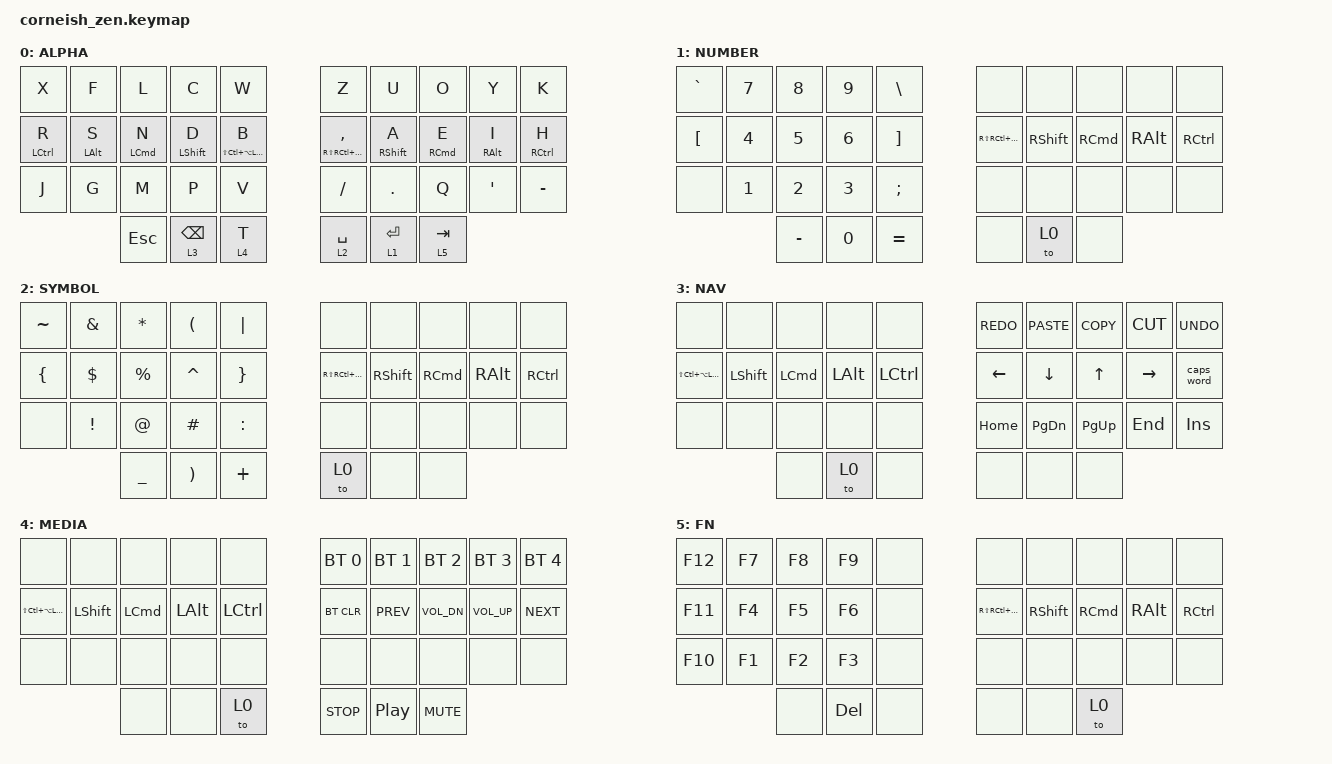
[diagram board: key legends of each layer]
/*
*
* Copyright (c) 2021 Darryl deHaan
* SPDX-License-Identifier: MIT
*
*/

#define LHYP LS(LC(LA(LCMD)))
#define RHYP RS(RC(RA(RCMD)))

#include <behaviors.dtsi>
#include <dt-bindings/zmk/keys.h>
#include <dt-bindings/zmk/bt.h>

/ {
    chosen {
        // zmk,matrix-transform = &default_transform;
        zmk,matrix-transform = &five_column_transform;
    };
};

/ {
    behaviors {
        hm: homerow_mods {
            compatible = "zmk,behavior-hold-tap";
            #binding-cells = <2>;
            tapping-term-ms = <150>;
            quick-tap-ms = <0>;
            flavor = "tap-preferred";
            bindings = <&kp>, <&kp>;
        };
    };
};

/ {
    keymap {
        compatible = "zmk,keymap";

        default_layer {
            display-name = "ALPHA";
            // ------------------------------------------------------------------------------------------------
            // |  X  |  F  |  L  |  C   |  W  |                                 |  Z  |  U  |  O  |  Y  |  K  |
            // |  R  |  S  |  N  |  D   |  B  |                                 |  ,  |  A  |  E  |  I  |  H  |
            // |  J  |  G  |  M  |  P   |  V  |                                 |  /  |  .  |  Q  |  '  |  -  |
            //             | ESC | BKSP |  T  |                                 | SPC | ENT | TAB |
            bindings = <
                &kp X       &kp F      &kp L      &kp C       &kp W             &kp Z          &kp U       &kp O      &kp Y      &kp K
                &hm LCTRL R &hm LALT S &hm LCMD N &hm LSHFT D &hm LHYP B        &hm RHYP COMMA &hm RSHFT A &hm RCMD E &hm RALT I &hm RCTRL H
                &kp J       &kp G      &kp M      &kp P       &kp V             &kp FSLH       &kp DOT     &kp Q      &kp SQT    &kp MINUS
                                       &kp ESC    &lt 3 BSPC  &lt 4 T           &lt 2 SPACE    &lt 1 RET   &lt 5 TAB
            >;
        };

        num_layer {
            display-name = "NUMBER";
            // ---------------------------------------------------------------------------------
            // |  `  |  7  |  8  |  9  |  \  |                |     |       |     |     |      |
            // |  [  |  4  |  5  |  6  |  ]  |                | HYP | SHFT  | CMD | OPT | CTRL |
            // |     |  1  |  2  |  3  |  ;  |                |     |       |     |     |      |
            //             |  -  |  0  |  =  |                |     | ALPHA |     |
            bindings = <
                &kp GRAVE &kp N7 &kp N8 &kp N9 &kp BSLH        &none    &none     &none    &none    &none
                &kp LBKT  &kp N4 &kp N5 &kp N6 &kp RBKT        &kp RHYP &kp RSHFT &kp RCMD &kp RALT &kp RCTRL
                &none     &kp N1 &kp N2 &kp N3 &kp SEMI        &none    &none     &none    &none    &none
                                 &kp MINUS &kp N0 &kp EQUAL    &none    &to 0     &none
            >;
        };

        sym_layer {
            display-name = "SYMBOL";
            // ------------------------------------------------------------------------------------------
            // |  ~  |  &  |  *  |  (  | '|' |                        |       |      |     |     |      |
            // |  {  |  $  |  %  |  ^  |  }  |                        |  HYP  | SHFT | CMD | OPT | CTRL |
            // |     |  !  |  @  |  #  |  :  |                        |       |      |     |     |      |
            //             |  _  |  )  |  +  |                        | ALPHA |      |     |
            bindings = <
                &kp TILDE &kp AMPS &kp ASTRK &kp LPAR  &kp PIPE        &none    &none     &none    &none    &none
                &kp LBRC  &kp DLLR &kp PRCNT &kp CARET &kp RBRC        &kp RHYP &kp RSHFT &kp RCMD &kp RALT &kp RCTRL
                &none     &kp EXCL &kp AT    &kp HASH  &kp COLON       &none    &none     &none    &none    &none
                                   &kp UNDER &kp RPAR  &kp PLUS        &to 0    &none     &none
            >;
        };

        nav_layer {
            display-name = "NAV";
            // ------------------------------------------------------------------------------------------
            // |     |      |     |       |      |               | REDO | PASTE | COPY |  CUT  | UNDO   |
            // | HYP | SHFT | CMD |  OPT  | CTRL |               | LEFT | DOWN  |  UP  | RIGHT | CAPWRD |
            // |     |      |     |       |      |               | HOME | PGDN  | PGUP |  END  |  INS   |
            //              |     | ALPHA |      |               |      |       |      |
            bindings = <
                &none    &none     &none    &none    &none        &kp K_REDO &kp K_PASTE &kp K_COPY &kp K_CUT &kp K_UNDO
                &kp LHYP &kp LSHFT &kp LCMD &kp LALT &kp LCTRL    &kp LEFT   &kp DOWN    &kp UP     &kp RIGHT &caps_word
                &none    &none     &none    &none    &none        &kp HOME   &kp PG_DN   &kp PG_UP  &kp END   &kp INS
                                   &none    &to 0    &none        &none      &none       &none
            >;
        };

        media_layer {
            display-name = "MEDIA";
            // -----------------------------------------------------------------------------------------
            // |     |      |     |     |       |                |  BT 1  | BT 2  | BT 3 | BT 4 | BT 5 |
            // | HYP | SHFT | CMD | OPT | CTRL  |                | BT CLR | PREV  | VOL- | VOL+ | NEXT |
            // |     |      |     |     |       |                |        |       |      |      |      |
            //              |     |     | ALPHA |                |  STOP  | PAUSE | MUTE |
            bindings = <
                &none    &none     &none    &none    &none        &bt BT_SEL 0 &bt BT_SEL 1 &bt BT_SEL 2 &bt BT_SEL 3 &bt BT_SEL 4
                &kp LHYP &kp LSHFT &kp LCMD &kp LALT &kp LCTRL    &bt BT_CLR   &kp C_PREV   &kp C_VOL_DN &kp C_VOL_UP &kp C_NEXT
                &none    &none     &none    &none    &none        &none        &none        &none        &none        &none
                                   &none    &none    &to 0        &kp C_STOP   &kp C_PP     &kp C_MUTE
            >;
        };

         fn_layer {
            display-name = "FN";
            // -------------------------------------------------------------------------
            // | F12 | F7 | F8 | F9 |    |              |     |      |     |     |      |
            // | F11 | F4 | F5 | F6 |    |              | HYP | SHFT | CMD | OPT | CTRL |
            // | F10 | F1 | F2 | F3 |    |              |     |      |     |     |      |
            //            |    |    |    |              |     |      | ALPHA |
            bindings = <
                &kp F12 &kp F7 &kp F8 &kp F9  &none      &none    &none     &none    &none    &none
                &kp F11 &kp F4 &kp F5 &kp F6  &none      &kp RHYP &kp RSHFT &kp RCMD &kp RALT &kp RCTRL
                &kp F10 &kp F1 &kp F2 &kp F3  &none      &none    &none     &none    &none    &none
                               &none  &kp DEL &none      &none    &none     &to 0
            >;
        };
    };
};
